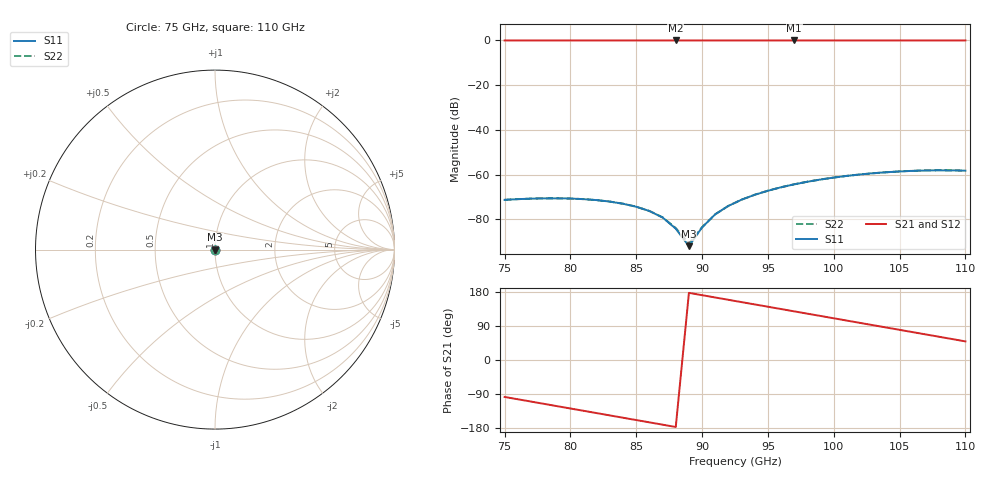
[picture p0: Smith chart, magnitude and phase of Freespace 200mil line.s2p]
! Touchstone file from project mwavepy standards
! Exported from HFSS 12.1.0
! Variables:
!  a = 100mil
!  b = a/2
!Data is not renormalized
# GHZ S MA
! Modal data exported
! Port[1] = 1:1
! Port[2] = 2:1
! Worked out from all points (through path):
!   36 points, 75 GHz to 110 GHz, reference per port
!   highest |S21| = 0.00 dB at 97 GHz (marker M1); lowest = 0.0 dB at 88 GHz (marker M2)
!   group delay of S21, straight-line fit = 16.9 ps
!   lowest |S11| = -92.1 dB at 89 GHz (marker M3), VSWR 1.00
!   |S11| at or under -10 dB: start of sweep to end of sweep
!   |S22| runs from -90.9 to -58.1 dB; largest |S21 - S12| = 1.8e-14
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75  0.0002715 170.2  1 -97.5  1 -97.5  0.0002715 174.8
! Gamma ! -0 1571.88376646376 -0 1571.88376646376
! Port Impedance 376.730313474969 0 376.730313474969 0
76  0.0002815 164.4  1 -103.6  1 -103.6  0.0002814 168.3
78  0.0002934 152.9  1 -115.8  1 -115.8  0.0002933 155.5
81  0.0002816 135.1  1 -134.1  1 -134.1  0.0002816 136.7
83  0.0002478 122.7  1 -146.3  1 -146.3  0.0002478 124.7
85  0.0001904 109.2  1 -158.5  1 -158.5  0.0001905 114.0
86  0.0001527 101.5  1 -164.6  1 -164.6  0.0001531 109.8
87  0.0001093 92.0  1 -170.7  1 -170.7  0.0001102 107.8
88  6.159e-05 75.6  1 -176.8  1 -176.8  6.338e-05 113.2
89  2.496e-05 5.1  1 177.1  1 177.1  2.846e-05 167.9
90  6.551e-05 -69.5  1 171.0  1 171.0  6.621e-05 -131.4
91  0.0001292 -86.3  1 164.9  1 164.9  0.0001291 -124.9
92  0.0001992 -95.9  1 158.9  1 158.9  0.000199 -126.7
93  0.0002738 -103.4  1 152.8  1 152.8  0.000274 -130.8
95  0.0004341 -116.6  1 140.6  1 140.6  0.0004355 -141.4
97  0.0006034 -128.8  1 128.4  1 128.4  0.000606 -153.6
99  0.0007734 -140.6  1 116.2  1 116.2  0.0007758 -166.4
102  0.001005 -157.9  1 97.9  1 97.9  0.001004 173.5
103  0.00107 -163.4  1 91.8  1 91.8  0.001068 166.8
105  0.001173 -174.0  1 79.6  1 79.6  0.001172 153.0
107  0.001233 176.4  1 67.4  1 67.4  0.001238 138.9
110  0.00122 162.3  1 49.2  1 49.2  0.00122 116.0
